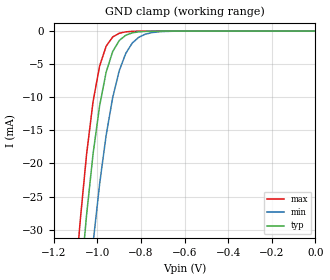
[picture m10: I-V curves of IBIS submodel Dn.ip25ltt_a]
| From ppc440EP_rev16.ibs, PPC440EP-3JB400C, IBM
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[Submodel]  Dn.ip25ltt_a
Submodel_type   Dynamic_clamp
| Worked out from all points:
|   GND clamp passes 1 mA (typ) near -0.88 V on its own axis
[GND Clamp]   | Note: Vtable =  Vout
| Voltage   I(typ)   I(min)   I(max)
-2.7V     -1.034A    -1.002A    -1.049A
-1.11V    -51.29mA   -66.15mA   -41.25mA
-1.08V    -38.89mA   -53.77mA   -29.04mA
-1.05V    -27.86mA   -42.34mA   -18.68mA
-1.02V    -18.56mA   -32.05mA   -10.66mA
-990mV    -11.29mA   -23.12mA   -5.284mA
-960mV    -6.206mA   -15.74mA   -2.283mA
-930mV    -3.093mA   -10.04mA   -891uA
-900mV    -1.426mA   -5.995mA   -328uA
-840mV    -265uA     -1.797mA   -41uA
-720mV    -8uA       -113uA     -1uA
0V        0A         0A         0A
